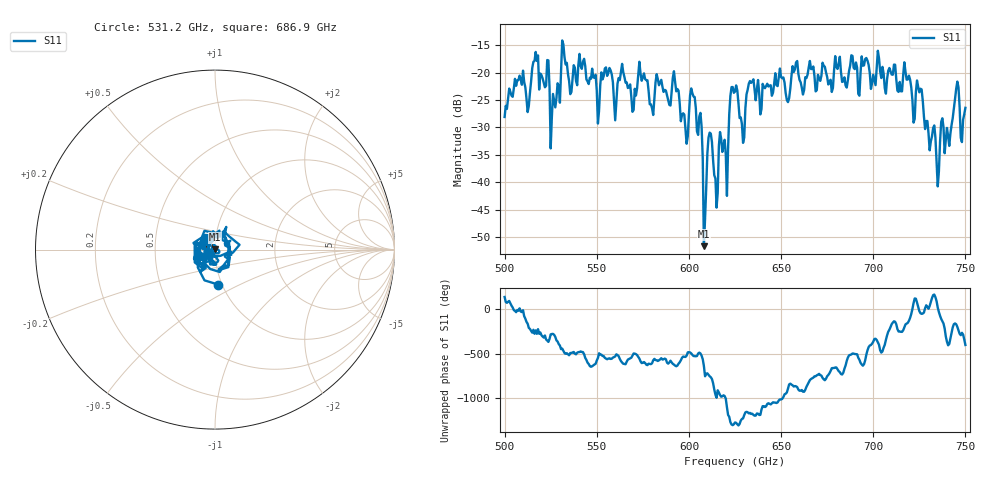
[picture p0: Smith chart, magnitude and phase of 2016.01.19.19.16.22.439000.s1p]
!Created with skrf (http://scikit-rf.org).
# GHz S RI R 50.0
!freq ReS11 ImS11
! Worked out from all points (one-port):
!   401 points, 500 GHz to 750 GHz, reference 50 ohm
!   lowest |S11| = -51.6 dB at 608.1 GHz (marker M1), VSWR 1.01, Z = 50 + j0.259 ohm
!   |S11| at or under -10 dB: start of sweep to end of sweep
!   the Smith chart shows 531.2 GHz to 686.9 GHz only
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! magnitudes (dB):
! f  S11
! 500 GHz  -28.1
! 506.9 GHz  -21.4
! 513.1 GHz  -26.1
! 516.9 GHz  -16.2
! 526.2 GHz  -23.9
! 531.2 GHz  -14.2
! 550.6 GHz  -29.3
! 562.5 GHz  -21.4
! 574.4 GHz  -21.5
! 580 GHz  -26.5
! 593.8 GHz  -23.0
! 598.1 GHz  -30.3
! 602.5 GHz  -24.4
! 606.2 GHz  -27.3
! 608.1 GHz  -51.6
! 611.2 GHz  -30.9
! 614.4 GHz  -39.3
! 617.5 GHz  -32.0
! 620 GHz  -34.9
! 625 GHz  -23.5
! 628.8 GHz  -29.4
! 633.8 GHz  -21.9
! 656.2 GHz  -18.8
! 687.5 GHz  -18.7
! 718.8 GHz  -21.3
! 735 GHz  -40.7
! 745 GHz  -23.0
! 750 GHz  -26.4
